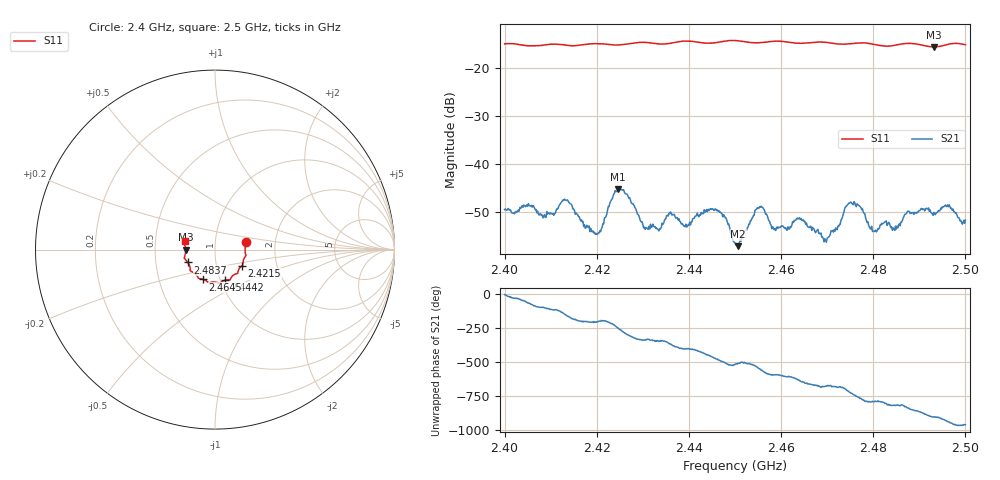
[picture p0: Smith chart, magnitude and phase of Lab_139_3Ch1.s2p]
# Hz S RI R 50
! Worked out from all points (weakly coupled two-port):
!   601 points, 2.4 GHz to 2.5 GHz, reference 50 ohm
!   highest |S21| = -45.23 dB at 2.4247 GHz (marker M1); lowest = -57.1 dB at 2.4507 GHz (marker M2)
!   lowest |S11| = -15.7 dB at 2.4932 GHz (marker M3), VSWR 1.39, Z = 35.9 - j0.0504 ohm
!   |S11| at or under -10 dB: start of sweep to end of sweep
!   S12 and S22 are empty: the file has one direction only
!   S11 on the Smith chart (normalised r, x): 2.4 GHz: 1.41, +0.12; 2.4215 GHz: 1.33, -0.25; 2.4442 GHz: 1.05, -0.37; 2.4645 GHz: 0.83, -0.29; 2.4837 GHz: 0.73, -0.11; 2.5 GHz: 0.71, +0.07
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2.4e9  0.1713 0.0399  0.00331 -0.000423  0 0  0 0
2.4085e9  0.1691 -0.0231  -0.000619 -0.00281  0 0  0 0
2.413167e9  0.1655 -0.0434  -0.0038 -0.00177  0 0  0 0
2.416667e9  0.1568 -0.0697  -0.00236 0.00113  0 0  0 0
2.4215e9  0.1509 -0.0899  -0.00225 0.000778  0 0  0 0
2.424667e9  0.1356 -0.1048  -0.00144 0.00529  0 0  0 0
2.433333e9  0.1084 -0.1383  0.00203 0.000418  0 0  0 0
2.444167e9  0.0564 -0.1695  -5.55e-05 -0.00336  0 0  0 0
2.447667e9  0.0317 -0.185  -0.0023 -0.00177  0 0  0 0
2.45e9  0.0252 -0.189  -0.00141 -0.00053  0 0  0 0
2.450667e9  0.0232 -0.1881  -0.00121 -0.000686  0 0  0 0
2.455167e9  -0.00962 -0.1804  -0.0034 0.000529  0 0  0 0
2.4585e9  -0.0304 -0.185  -0.00111 0.00174  0 0  0 0
2.4645e9  -0.0658 -0.166  0.00075 0.00247  0 0  0 0
2.466667e9  -0.0827 -0.162  0.00122 0.00162  0 0  0 0
2.469833e9  -0.0937 -0.1566  0.00116 0.001  0 0  0 0
2.4755e9  -0.1265 -0.1242  0.00367 -0.001  0 0  0 0
2.479833e9  -0.1384 -0.1072  0.000683 -0.00186  0 0  0 0
2.483333e9  -0.149 -0.0752  -0.000104 -0.00246  0 0  0 0
2.483667e9  -0.151 -0.0718  -0.000282 -0.00226  0 0  0 0
2.493167e9  -0.1635 -0.000682  -0.00311 0.000289  0 0  0 0
2.5e9  -0.1651 0.0505  -0.00123 0.00229  0 0  0 0
